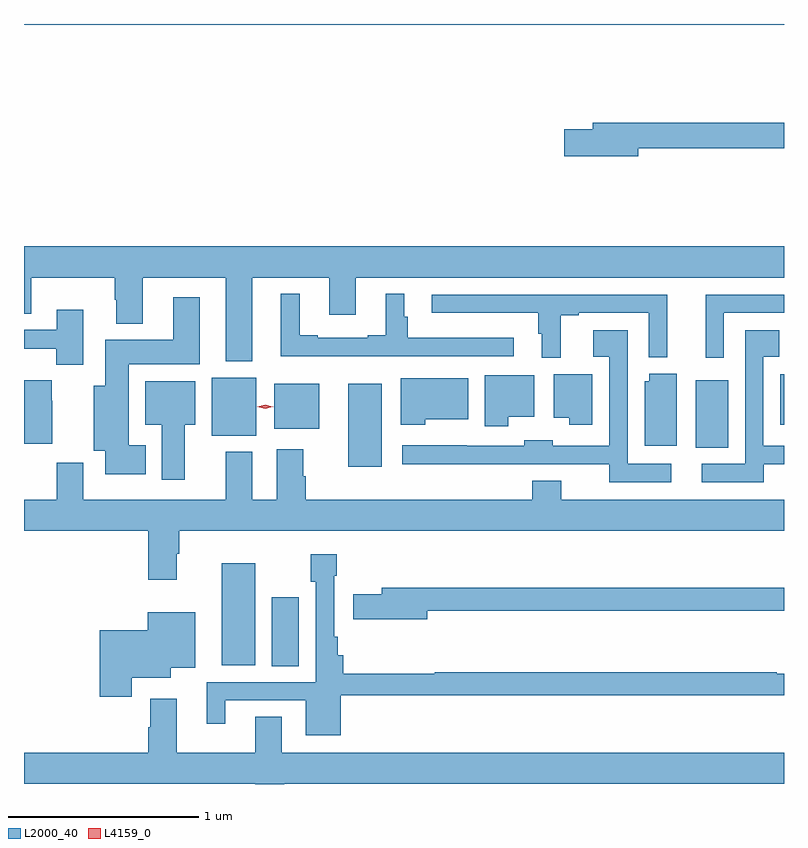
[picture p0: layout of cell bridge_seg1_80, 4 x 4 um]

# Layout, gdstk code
import gdstk
lib = gdstk.Library(unit=1e-6, precision=1e-09)
def R(c, l, rs):  # rectangles x0, y0, x1, y1
    for r in rs: c.add(gdstk.rectangle(r[:2], r[2:], *l))
def P(c, l, *ps):  # polygons
    for p in ps: c.add(gdstk.Polygon(p, *l))
L2000_40 = (2000, 40)
L4159_0 = (4159, 0)

bridge_seg1_80 = lib.new_cell('bridge_seg1_80')
R(bridge_seg1_80, L2000_40, [(578.714,573.664,578.857,574.027), (578.45,573.668,578.626,574.204), (579.116,574.712,579.292,575.149), (580.946,574.813,581.116,575.167), (578.399,574.877,578.632,575.182), (578.726,574.913,578.965,575.149), (581.39,574.934,581.41,575.2), (577.41,577.04,581.41,577.043)])
P(bridge_seg1_80, L2000_40, [(580.642,576.388),(581.41,576.388),(581.41,576.524),(580.403,576.524),(580.403,576.488),(580.254,576.488),(580.254,576.346),(580.642,576.346)],
  [(578.611,575.708),(579.017,575.708),(579.017,575.514),(579.157,575.514),(579.157,575.708),(581.41,575.708),(581.41,575.872),(577.41,575.872),(577.41,575.518),(577.447,575.518),(577.447,575.708),(577.888,575.708),(577.888,575.592),(577.895,575.592),(577.895,575.465),(578.035,575.465),(578.035,575.708),(578.471,575.708),(578.471,575.267),(578.611,575.267)],
  [(579.288,575.295),(579.988,575.295),(579.988,575.392),(579.431,575.392),(579.431,575.502),(579.412,575.502),(579.412,575.623),(579.314,575.623),(579.314,575.404),(579.218,575.404),(579.218,575.391),(578.956,575.391),(578.956,575.404),(578.86,575.404),(578.86,575.623),(578.762,575.623),(578.762,575.294),(579.288,575.294)],
  [(581.094,575.523),(581.41,575.523),(581.41,575.619),(580.997,575.619),(580.997,575.286),(581.094,575.286)],
  [(580.234,575.511),(580.33,575.511),(580.33,575.523),(580.698,575.523),(580.698,575.288),(580.796,575.288),(580.796,575.619),(579.555,575.619),(579.555,575.522),(580.117,575.522),(580.117,575.412),(580.136,575.412),(580.136,575.286),(580.234,575.286)],
  [(578.05,574.825),(577.96,574.825),(577.96,575.252),(578.335,575.252),(578.335,575.605),(578.195,575.605),(578.195,575.38),(577.838,575.38),(577.838,575.14),(577.778,575.14),(577.778,574.796),(577.838,574.796),(577.838,574.673),(578.05,574.673)],
  [(577.723,575.539),(577.583,575.539),(577.583,575.433),(577.41,575.433),(577.41,575.334),(577.581,575.334),(577.581,575.249),(577.723,575.249)],
  [(580.816,574.728),(580.587,574.728),(580.587,575.431),(580.407,575.431),(580.407,575.291),(580.491,575.291),(580.491,574.824),(580.194,574.824),(580.194,574.852),(580.044,574.852),(580.044,574.824),(579.74,574.824),(579.74,574.825),(579.402,574.825),(579.402,574.727),(580.489,574.727),(580.489,574.632),(580.816,574.632)],
  [(581.304,574.727),(581.41,574.727),(581.41,574.824),(581.301,574.824),(581.301,575.291),(581.386,575.291),(581.386,575.431),(581.205,575.431),(581.205,574.728),(580.977,574.728),(580.977,574.632),(581.304,574.632)],
  [(580.846,575.203),(580.7,575.203),(580.7,575.163),(580.676,575.163),(580.676,574.823),(580.846,574.823)],
  [(580.402,575.2),(580.199,575.2),(580.199,574.97),(580.28,574.97),(580.28,574.934),(580.402,574.934)],
  [(579.958,574.976),(580.096,574.976),(580.096,575.194),(579.836,575.194),(579.836,574.926),(579.958,574.926)],
  [(579.522,574.964),(579.748,574.964),(579.748,575.179),(579.392,575.179),(579.392,574.934),(579.522,574.934)],
  [(577.558,575.06),(577.556,575.06),(577.556,575.167),(577.41,575.167),(577.41,574.833),(577.558,574.833)],
  [(578.257,574.934),(578.311,574.934),(578.311,575.164),(578.048,575.164),(578.048,574.934),(578.135,574.934),(578.135,574.644),(578.257,574.644)],
  [(578.215,574.256),(578.228,574.256),(578.228,574.376),(581.41,574.376),(581.41,574.54),(580.237,574.54),(580.237,574.639),(580.085,574.639),(580.085,574.54),(578.894,574.54),(578.894,574.664),(578.881,574.664),(578.881,574.804),(578.741,574.804),(578.741,574.54),(578.611,574.54),(578.611,574.792),(578.471,574.792),(578.471,574.54),(577.723,574.54),(577.723,574.735),(577.583,574.735),(577.583,574.54),(577.41,574.54),(577.41,574.376),(578.063,574.376),(578.063,574.119),(578.215,574.119)],
  [(579.076,573.51),(581.41,573.51),(581.41,573.623),(581.372,573.623),(581.372,573.631),(579.572,573.631),(579.572,573.623),(579.089,573.623),(579.089,573.721),(579.062,573.721),(579.062,573.817),(579.042,573.817),(579.042,574.139),(579.055,574.139),(579.055,574.252),(578.92,574.252),(578.92,574.107),(578.946,574.107),(578.946,573.579),(578.372,573.579),(578.372,573.36),(578.47,573.36),(578.47,573.483),(578.894,573.483),(578.894,573.299),(579.076,573.299)],
  [(579.532,573.954),(581.41,573.954),(581.41,574.075),(579.293,574.075),(579.293,574.041),(579.144,574.041),(579.144,573.911),(579.532,573.911)],
  [(577.978,573.602),(578.182,573.602),(578.182,573.656),(578.311,573.656),(578.311,573.946),(578.06,573.946),(578.06,573.853),(577.808,573.853),(577.808,573.501),(577.978,573.501)],
  [(578.779,573.044),(581.41,573.044),(581.41,573.208),(578.767,573.208),(578.767,573.398),(578.627,573.398),(578.627,573.208),(578.215,573.208),(578.215,573.493),(578.075,573.493),(578.075,573.342),(578.063,573.342),(578.063,573.208),(577.41,573.208),(577.41,573.044),(578.627,573.044),(578.627,573.043),(578.779,573.043)])
P(bridge_seg1_80, L4159_0, [(578.679,575.018),(578.638,575.028),(578.638,575.028),(578.638,575.028),(578.679,575.038),(578.72,575.028),(578.721,575.028),(578.72,575.028)])

lib.write_gds('bridge_seg1_80.gds')
